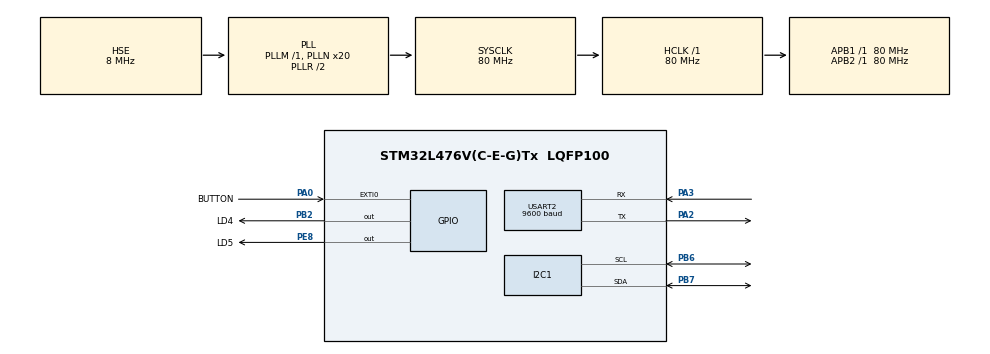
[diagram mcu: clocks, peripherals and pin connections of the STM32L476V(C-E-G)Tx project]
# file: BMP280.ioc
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Dma.Request0=USART2_RX
Dma.Request1=USART2_TX
Dma.USART2_RX.0.Direction=DMA_PERIPH_TO_MEMORY
Dma.USART2_RX.0.Instance=DMA1_Channel6
Dma.USART2_RX.0.MemDataAlignment=DMA_MDATAALIGN_BYTE
Dma.USART2_RX.0.MemInc=DMA_MINC_ENABLE
Dma.USART2_RX.0.Mode=DMA_NORMAL
Dma.USART2_RX.0.PeriphDataAlignment=DMA_PDATAALIGN_BYTE
Dma.USART2_RX.0.PeriphInc=DMA_PINC_DISABLE
Dma.USART2_RX.0.Priority=DMA_PRIORITY_LOW
Dma.USART2_TX.1.Direction=DMA_MEMORY_TO_PERIPH
Dma.USART2_TX.1.Instance=DMA1_Channel7
Dma.USART2_TX.1.MemDataAlignment=DMA_MDATAALIGN_BYTE
Dma.USART2_TX.1.MemInc=DMA_MINC_ENABLE
Dma.USART2_TX.1.Mode=DMA_NORMAL
Dma.USART2_TX.1.PeriphDataAlignment=DMA_PDATAALIGN_BYTE
Dma.USART2_TX.1.PeriphInc=DMA_PINC_DISABLE
Dma.USART2_TX.1.Priority=DMA_PRIORITY_LOW
Mcu.Family=STM32L4
Mcu.Name=STM32L476V(C-E-G)Tx
Mcu.Package=LQFP100
NVIC.DMA1_Channel6_IRQn=true\:0\:0\:false\:false\:true\:false
NVIC.DMA1_Channel7_IRQn=true\:0\:0\:false\:false\:true\:false
NVIC.EXTI0_IRQn=true\:0\:0\:false\:false\:true\:true
NVIC.PriorityGroup=NVIC_PRIORITYGROUP_4
NVIC.RCC_IRQn=true\:0\:0\:false\:false\:true\:true
NVIC.TIM1_UP_TIM16_IRQn=true\:0\:0\:false\:false\:true\:false
NVIC.TIM2_IRQn=true\:0\:0\:false\:false\:true\:true
NVIC.TimeBase=TIM1_UP_TIM16_IRQn
NVIC.TimeBaseIP=TIM1
PA0.GPIO_Label=BUTTON
PA0.Signal=GPXTI0
PA2.Mode=Asynchronous
PA2.Signal=USART2_TX
PA3.Mode=Asynchronous
PA3.Signal=USART2_RX
PB2.GPIO_Label=LD4
PB2.GPIO_PuPd=GPIO_NOPULL
PB2.Signal=GPIO_Output
PB6.Mode=I2C
PB6.Signal=I2C1_SCL
PB7.Mode=I2C
PB7.Signal=I2C1_SDA
PC14-OSC32_IN\ (PC14).Mode=LSE-External-Oscillator
PC14-OSC32_IN\ (PC14).Signal=RCC_OSC32_IN
PC15-OSC32_OUT\ (PC15).Mode=LSE-External-Oscillator
PC15-OSC32_OUT\ (PC15).Signal=RCC_OSC32_OUT
PE8.GPIO_Label=LD5
PE8.GPIO_PuPd=GPIO_NOPULL
PE8.Signal=GPIO_Output
PH0-OSC_IN\ (PH0).Mode=HSE-External-Oscillator
PH0-OSC_IN\ (PH0).Signal=RCC_OSC_IN
PH1-OSC_OUT\ (PH1).Mode=HSE-External-Oscillator
PH1-OSC_OUT\ (PH1).Signal=RCC_OSC_OUT
ProjectManager.HeapSize=0x200
ProjectManager.StackSize=0x400
ProjectManager.TargetToolchain=TrueSTUDIO
RCC.ADCFreq_Value=48000000
RCC.AHBFreq_Value=80000000
RCC.APB1Freq_Value=80000000
RCC.APB1TimFreq_Value=80000000
RCC.APB2Freq_Value=80000000
RCC.APB2TimFreq_Value=80000000
RCC.CortexFreq_Value=80000000
RCC.EnbaleCSS=true
RCC.HCLKFreq_Value=80000000
RCC.HSE_VALUE=8000000
RCC.HSI_VALUE=16000000
RCC.MSI_VALUE=4000000
RCC.PLLN=20
RCC.PLLSAI1N=12
RCC.PLLSourceVirtual=RCC_PLLSOURCE_HSE
RCC.SYSCLKFreq_VALUE=80000000
RCC.SYSCLKSource=RCC_SYSCLKSOURCE_PLLCLK
RCC.USBFreq_Value=48000000
RCC.VCOOutputFreq_Value=160000000
TIM2.Period=3999
TIM2.Prescaler=9999
USART2.BaudRate=9600
USART2.VirtualMode-Asynchronous=VM_ASYNC
VP_RTC_VS_RTC_Activate.Mode=RTC_Enabled
VP_SYS_VS_tim1.Mode=TIM1
VP_TIM2_VS_ClockSourceINT.Mode=Internal
board=custom

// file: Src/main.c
/* USER CODE BEGIN Header */
/**
 ******************************************************************************
 * @file           : main.c
 * @brief          : Main program body
 ******************************************************************************
 ** This notice applies to any and all portions of this file
 * that are not between comment pairs USER CODE BEGIN and
 * USER CODE END. Other portions of this file, whether
 * inserted by the user or by software development tools
 * are owned by their respective copyright owners.
 *
 * COPYRIGHT(c) 2019 STMicroelectronics
 *
 * Redistribution and use in source and binary forms, with or without modification,
 * are permitted provided that the following conditions are met:
 *   1. Redistributions of source code must retain the above copyright notice,
 *      this list of conditions and the following disclaimer.
 *   2. Redistributions in binary form must reproduce the above copyright notice,
 *      this list of conditions and the following disclaimer in the documentation
 *      and/or other materials provided with the distribution.
 *   3. Neither the name of STMicroelectronics nor the names of its contributors
 *      may be used to endorse or promote products derived from this software
 *      without specific prior written permission.
 *
 * THIS SOFTWARE IS PROVIDED BY THE COPYRIGHT HOLDERS AND CONTRIBUTORS "AS IS"
 * AND ANY EXPRESS OR IMPLIED WARRANTIES, INCLUDING, BUT NOT LIMITED TO, THE
 * IMPLIED WARRANTIES OF MERCHANTABILITY AND FITNESS FOR A PARTICULAR PURPOSE ARE
 * DISCLAIMED. IN NO EVENT SHALL THE COPYRIGHT HOLDER OR CONTRIBUTORS BE LIABLE
 * FOR ANY DIRECT, INDIRECT, INCIDENTAL, SPECIAL, EXEMPLARY, OR CONSEQUENTIAL
 * DAMAGES (INCLUDING, BUT NOT LIMITED TO, PROCUREMENT OF SUBSTITUTE GOODS OR
 * SERVICES; LOSS OF USE, DATA, OR PROFITS; OR BUSINESS INTERRUPTION) HOWEVER
 * CAUSED AND ON ANY THEORY OF LIABILITY, WHETHER IN CONTRACT, STRICT LIABILITY,
 * OR TORT (INCLUDING NEGLIGENCE OR OTHERWISE) ARISING IN ANY WAY OUT OF THE USE
 * OF THIS SOFTWARE, EVEN IF ADVISED OF THE POSSIBILITY OF SUCH DAMAGE.
 *
 ******************************************************************************
 */
/* USER CODE END Header */

#include "main.h"

I2C_HandleTypeDef hi2c1;

RTC_HandleTypeDef hrtc;

TIM_HandleTypeDef htim2;

UART_HandleTypeDef huart2;
DMA_HandleTypeDef hdma_usart2_rx;
DMA_HandleTypeDef hdma_usart2_tx;

void SystemClock_Config(void);
static void MX_GPIO_Init(void);
static void MX_DMA_Init(void);
static void MX_RTC_Init(void);
static void MX_I2C1_Init(void);
static void MX_USART2_UART_Init(void);
static void MX_TIM2_Init(void);
/* USER CODE BEGIN PFP */
void HAL_GPIO_EXTI_Callback(uint16_t);
void setupSleepMode();
void turnOffPeriodicReadout(IRQn_Type, TIM_HandleTypeDef*);
void turnOffButtonReadout(IRQn_Type);
void init_periodicReadout(TIM_HandleTypeDef*, uint16_t);
/* USER CODE END PFP */

/* USER CODE BEGIN 0 */
void HAL_GPIO_EXTI_Callback(uint16_t GPIO_Pin)
{
	HAL_ResumeTick();
	HAL_GPIO_TogglePin(LD4_GPIO_Port,LD4_Pin);
	BMP280_getPressureAndTemperatureData();
	HAL_GPIO_TogglePin(LD4_GPIO_Port,LD4_Pin);
	HAL_SuspendTick();
}

void setupSleepMode()
{
	HAL_SuspendTick();
	HAL_PWR_EnterSLEEPMode( PWR_MAINREGULATOR_ON, PWR_SLEEPENTRY_WFI);
	SCB->SCR |= SCB_SCR_SLEEPONEXIT_Msk;
}

void turnOffPeriodicReadout(IRQn_Type timIRQn, TIM_HandleTypeDef *htim)
{
	HAL_TIM_Base_Stop_IT(htim);
	NVIC_DisableIRQ(timIRQn);
	setupSleepMode();
}

void turnOffButtonReadout(IRQn_Type buttonIRQn)
{
	NVIC_DisableIRQ(buttonIRQn);
}

void init_periodicReadout(TIM_HandleTypeDef *htim, uint16_t sleepTime) // sleepTime [s]
{
	uint16_t ARR=400*sleepTime-1; //calculating sleeping time
	HAL_TIM_Base_Start_IT(htim);
	__HAL_TIM_SET_AUTORELOAD(htim, ARR);
	//setupSleepMode();
}
/* USER CODE END 0 */

int main(void)
{

	/* MCU Configuration--------------------------------------------------------*/

	/* Reset of all peripherals, Initializes the Flash interface and the Systick. */
	HAL_Init();

	/* Configure the system clock */
	SystemClock_Config();

	/* Initialize all configured peripherals */
	MX_GPIO_Init();
	MX_DMA_Init();
	MX_RTC_Init();
	MX_I2C1_Init();
	MX_USART2_UART_Init();
	MX_TIM2_Init();
	/* USER CODE BEGIN 2 */
	BMP280_init(&hi2c1,&BMP280, BMP280_PRESSURE_HIGH,BMP280_TEMPERATURE_20B,BMP280_MODE_FORCED);
	init_periodicReadout(&htim2, 30);

	setupSleepMode();
	/* USER CODE END 2 */

	/* Infinite loop */
	while (1)
	{

	}
}

void SystemClock_Config(void)
{
	RCC_OscInitTypeDef RCC_OscInitStruct = {0};
	RCC_ClkInitTypeDef RCC_ClkInitStruct = {0};
	RCC_PeriphCLKInitTypeDef PeriphClkInit = {0};

	/**Initializes the CPU, AHB and APB busses clocks
	 */
	RCC_OscInitStruct.OscillatorType = RCC_OSCILLATORTYPE_LSI|RCC_OSCILLATORTYPE_HSE;
	RCC_OscInitStruct.HSEState = RCC_HSE_ON;
	RCC_OscInitStruct.LSIState = RCC_LSI_ON;
	RCC_OscInitStruct.PLL.PLLState = RCC_PLL_ON;
	RCC_OscInitStruct.PLL.PLLSource = RCC_PLLSOURCE_HSE;
	RCC_OscInitStruct.PLL.PLLM = 1;
	RCC_OscInitStruct.PLL.PLLN = 20;
	RCC_OscInitStruct.PLL.PLLP = RCC_PLLP_DIV7;
	RCC_OscInitStruct.PLL.PLLQ = RCC_PLLQ_DIV2;
	RCC_OscInitStruct.PLL.PLLR = RCC_PLLR_DIV2;
	if (HAL_RCC_OscConfig(&RCC_OscInitStruct) != HAL_OK)
	{
		Error_Handler();
	}
	/**Initializes the CPU, AHB and APB busses clocks
	 */
	RCC_ClkInitStruct.ClockType = RCC_CLOCKTYPE_HCLK|RCC_CLOCKTYPE_SYSCLK
			|RCC_CLOCKTYPE_PCLK1|RCC_CLOCKTYPE_PCLK2;
	RCC_ClkInitStruct.SYSCLKSource = RCC_SYSCLKSOURCE_PLLCLK;
	RCC_ClkInitStruct.AHBCLKDivider = RCC_SYSCLK_DIV1;
	RCC_ClkInitStruct.APB1CLKDivider = RCC_HCLK_DIV1;
	RCC_ClkInitStruct.APB2CLKDivider = RCC_HCLK_DIV1;

	if (HAL_RCC_ClockConfig(&RCC_ClkInitStruct, FLASH_LATENCY_4) != HAL_OK)
	{
		Error_Handler();
	}
	PeriphClkInit.PeriphClockSelection = RCC_PERIPHCLK_RTC|RCC_PERIPHCLK_USART2
			|RCC_PERIPHCLK_I2C1;
	PeriphClkInit.Usart2ClockSelection = RCC_USART2CLKSOURCE_PCLK1;
	PeriphClkInit.I2c1ClockSelection = RCC_I2C1CLKSOURCE_PCLK1;
	PeriphClkInit.RTCClockSelection = RCC_RTCCLKSOURCE_LSI;
	if (HAL_RCCEx_PeriphCLKConfig(&PeriphClkInit) != HAL_OK)
	{
		Error_Handler();
	}
	/**Enables the Clock Security System
	 */
	HAL_RCC_EnableCSS();
	/**Configure the main internal regulator output voltage
	 */
	if (HAL_PWREx_ControlVoltageScaling(PWR_REGULATOR_VOLTAGE_SCALE1) != HAL_OK)
	{
		Error_Handler();
	}
}

static void MX_I2C1_Init(void)
{

	hi2c1.Instance = I2C1;
	hi2c1.Init.Timing = 0x10909CEC;
	hi2c1.Init.OwnAddress1 = 0;
	hi2c1.Init.AddressingMode = I2C_ADDRESSINGMODE_7BIT;
	hi2c1.Init.DualAddressMode = I2C_DUALADDRESS_DISABLE;
	hi2c1.Init.OwnAddress2 = 0;
	hi2c1.Init.OwnAddress2Masks = I2C_OA2_NOMASK;
	hi2c1.Init.GeneralCallMode = I2C_GENERALCALL_DISABLE;
	hi2c1.Init.NoStretchMode = I2C_NOSTRETCH_DISABLE;
	if (HAL_I2C_Init(&hi2c1) != HAL_OK)
	{
		Error_Handler();
	}
	/**Configure Analogue filter
	 */
	if (HAL_I2CEx_ConfigAnalogFilter(&hi2c1, I2C_ANALOGFILTER_ENABLE) != HAL_OK)
	{
		Error_Handler();
	}
	/**Configure Digital filter
	 */
	if (HAL_I2CEx_ConfigDigitalFilter(&hi2c1, 0) != HAL_OK)
	{
		Error_Handler();
	}

}

static void MX_RTC_Init(void)
{

	/**Initialize RTC Only
	 */
	hrtc.Instance = RTC;
	hrtc.Init.HourFormat = RTC_HOURFORMAT_24;
	hrtc.Init.AsynchPrediv = 127;
	hrtc.Init.SynchPrediv = 255;
	hrtc.Init.OutPut = RTC_OUTPUT_DISABLE;
	hrtc.Init.OutPutRemap = RTC_OUTPUT_REMAP_NONE;
	hrtc.Init.OutPutPolarity = RTC_OUTPUT_POLARITY_HIGH;
	hrtc.Init.OutPutType = RTC_OUTPUT_TYPE_OPENDRAIN;
	if (HAL_RTC_Init(&hrtc) != HAL_OK)
	{
		Error_Handler();
	}

}

static void MX_TIM2_Init(void)
{

	TIM_ClockConfigTypeDef sClockSourceConfig = {0};
	TIM_MasterConfigTypeDef sMasterConfig = {0};

	htim2.Instance = TIM2;
	htim2.Init.Prescaler = 9999;
	htim2.Init.CounterMode = TIM_COUNTERMODE_UP;
	htim2.Init.Period = 3999;
	htim2.Init.ClockDivision = TIM_CLOCKDIVISION_DIV1;
	htim2.Init.AutoReloadPreload = TIM_AUTORELOAD_PRELOAD_DISABLE;
	if (HAL_TIM_Base_Init(&htim2) != HAL_OK)
	{
		Error_Handler();
	}
	sClockSourceConfig.ClockSource = TIM_CLOCKSOURCE_INTERNAL;
	if (HAL_TIM_ConfigClockSource(&htim2, &sClockSourceConfig) != HAL_OK)
	{
		Error_Handler();
	}
	sMasterConfig.MasterOutputTrigger = TIM_TRGO_RESET;
	sMasterConfig.MasterSlaveMode = TIM_MASTERSLAVEMODE_DISABLE;
	if (HAL_TIMEx_MasterConfigSynchronization(&htim2, &sMasterConfig) != HAL_OK)
	{
		Error_Handler();
	}

}

static void MX_USART2_UART_Init(void)
{

	huart2.Instance = USART2;
	huart2.Init.BaudRate = 9600;
	huart2.Init.WordLength = UART_WORDLENGTH_8B;
	huart2.Init.StopBits = UART_STOPBITS_1;
	huart2.Init.Parity = UART_PARITY_NONE;
	huart2.Init.Mode = UART_MODE_TX_RX;
	huart2.Init.HwFlowCtl = UART_HWCONTROL_NONE;
	huart2.Init.OverSampling = UART_OVERSAMPLING_16;
	huart2.Init.OneBitSampling = UART_ONE_BIT_SAMPLE_DISABLE;
	huart2.AdvancedInit.AdvFeatureInit = UART_ADVFEATURE_NO_INIT;
	if (HAL_UART_Init(&huart2) != HAL_OK)
	{
		Error_Handler();
	}

}

static void MX_DMA_Init(void)
{
	/* DMA controller clock enable */
	__HAL_RCC_DMA1_CLK_ENABLE();

	/* DMA interrupt init */
	/* DMA1_Channel6_IRQn interrupt configuration */
	HAL_NVIC_SetPriority(DMA1_Channel6_IRQn, 0, 0);
	HAL_NVIC_EnableIRQ(DMA1_Channel6_IRQn);
	/* DMA1_Channel7_IRQn interrupt configuration */
	HAL_NVIC_SetPriority(DMA1_Channel7_IRQn, 0, 0);
	HAL_NVIC_EnableIRQ(DMA1_Channel7_IRQn);

}

static void MX_GPIO_Init(void)
{
	GPIO_InitTypeDef GPIO_InitStruct = {0};

	/* GPIO Ports Clock Enable */
	__HAL_RCC_GPIOC_CLK_ENABLE();
	__HAL_RCC_GPIOH_CLK_ENABLE();
	__HAL_RCC_GPIOA_CLK_ENABLE();
	__HAL_RCC_GPIOB_CLK_ENABLE();
	__HAL_RCC_GPIOE_CLK_ENABLE();

	/*Configure GPIO pin Output Level */
	HAL_GPIO_WritePin(LD4_GPIO_Port, LD4_Pin, GPIO_PIN_RESET);

	/*Configure GPIO pin Output Level */
	HAL_GPIO_WritePin(LD5_GPIO_Port, LD5_Pin, GPIO_PIN_RESET);

	/*Configure GPIO pin : BUTTON_Pin */
	GPIO_InitStruct.Pin = BUTTON_Pin;
	GPIO_InitStruct.Mode = GPIO_MODE_IT_RISING;
	GPIO_InitStruct.Pull = GPIO_NOPULL;
	HAL_GPIO_Init(BUTTON_GPIO_Port, &GPIO_InitStruct);

	/*Configure GPIO pin : LD4_Pin */
	GPIO_InitStruct.Pin = LD4_Pin;
	GPIO_InitStruct.Mode = GPIO_MODE_OUTPUT_PP;
	GPIO_InitStruct.Pull = GPIO_NOPULL;
	GPIO_InitStruct.Speed = GPIO_SPEED_FREQ_LOW;
	HAL_GPIO_Init(LD4_GPIO_Port, &GPIO_InitStruct);

	/*Configure GPIO pin : LD5_Pin */
	GPIO_InitStruct.Pin = LD5_Pin;
	GPIO_InitStruct.Mode = GPIO_MODE_OUTPUT_PP;
	GPIO_InitStruct.Pull = GPIO_NOPULL;
	GPIO_InitStruct.Speed = GPIO_SPEED_FREQ_LOW;
	HAL_GPIO_Init(LD5_GPIO_Port, &GPIO_InitStruct);

	/* EXTI interrupt init*/
	HAL_NVIC_SetPriority(EXTI0_IRQn, 0, 0);
	HAL_NVIC_EnableIRQ(EXTI0_IRQn);

}

void HAL_TIM_PeriodElapsedCallback(TIM_HandleTypeDef *htim)
{
	/* USER CODE BEGIN Callback 0 */
	if(htim->Instance == TIM2)
	{
		HAL_ResumeTick();
		BMP280_getPressureAndTemperatureData();
		HAL_SuspendTick();
	}
	/* USER CODE END Callback 0 */
	if (htim->Instance == TIM1) {
		HAL_IncTick();
	}
}

void Error_Handler(void)
{
}

/************************ (C) COPYRIGHT STMicroelectronics *****END OF FILE****/
